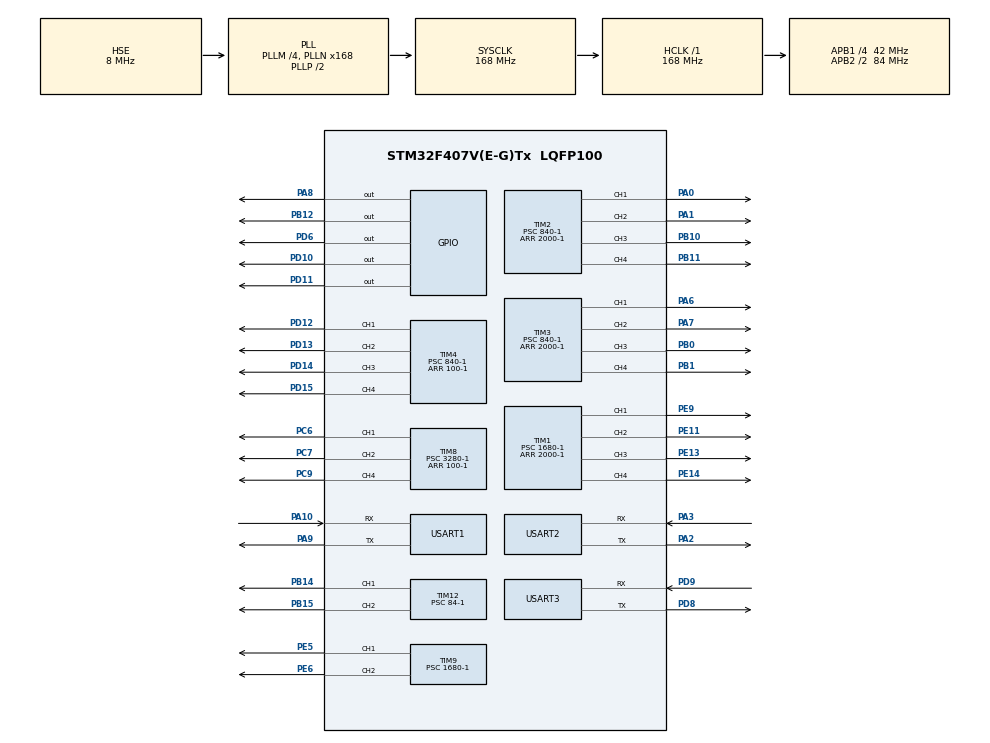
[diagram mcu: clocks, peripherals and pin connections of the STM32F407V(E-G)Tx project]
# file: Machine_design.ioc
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Dma.Request0=USART2_RX
Dma.Request1=USART2_TX
Dma.Request2=USART1_RX
Dma.Request3=USART1_TX
Dma.Request4=USART3_RX
Dma.Request5=USART3_TX
Dma.USART1_RX.2.Direction=DMA_PERIPH_TO_MEMORY
Dma.USART1_RX.2.FIFOMode=DMA_FIFOMODE_DISABLE
Dma.USART1_RX.2.Instance=DMA2_Stream2
Dma.USART1_RX.2.MemDataAlignment=DMA_MDATAALIGN_BYTE
Dma.USART1_RX.2.MemInc=DMA_MINC_ENABLE
Dma.USART1_RX.2.Mode=DMA_NORMAL
Dma.USART1_RX.2.PeriphDataAlignment=DMA_PDATAALIGN_BYTE
Dma.USART1_RX.2.PeriphInc=DMA_PINC_DISABLE
Dma.USART1_RX.2.Priority=DMA_PRIORITY_LOW
Dma.USART1_TX.3.Direction=DMA_MEMORY_TO_PERIPH
Dma.USART1_TX.3.FIFOMode=DMA_FIFOMODE_DISABLE
Dma.USART1_TX.3.Instance=DMA2_Stream7
Dma.USART1_TX.3.MemDataAlignment=DMA_MDATAALIGN_BYTE
Dma.USART1_TX.3.MemInc=DMA_MINC_ENABLE
Dma.USART1_TX.3.Mode=DMA_NORMAL
Dma.USART1_TX.3.PeriphDataAlignment=DMA_PDATAALIGN_BYTE
Dma.USART1_TX.3.PeriphInc=DMA_PINC_DISABLE
Dma.USART1_TX.3.Priority=DMA_PRIORITY_LOW
Dma.USART2_RX.0.Direction=DMA_PERIPH_TO_MEMORY
Dma.USART2_RX.0.FIFOMode=DMA_FIFOMODE_DISABLE
Dma.USART2_RX.0.Instance=DMA1_Stream5
Dma.USART2_RX.0.MemDataAlignment=DMA_MDATAALIGN_BYTE
Dma.USART2_RX.0.MemInc=DMA_MINC_ENABLE
Dma.USART2_RX.0.Mode=DMA_NORMAL
Dma.USART2_RX.0.PeriphDataAlignment=DMA_PDATAALIGN_BYTE
Dma.USART2_RX.0.PeriphInc=DMA_PINC_DISABLE
Dma.USART2_RX.0.Priority=DMA_PRIORITY_LOW
Dma.USART2_TX.1.Direction=DMA_MEMORY_TO_PERIPH
Dma.USART2_TX.1.FIFOMode=DMA_FIFOMODE_DISABLE
Dma.USART2_TX.1.Instance=DMA1_Stream6
Dma.USART2_TX.1.MemDataAlignment=DMA_MDATAALIGN_BYTE
Dma.USART2_TX.1.MemInc=DMA_MINC_ENABLE
Dma.USART2_TX.1.Mode=DMA_NORMAL
Dma.USART2_TX.1.PeriphDataAlignment=DMA_PDATAALIGN_BYTE
Dma.USART2_TX.1.PeriphInc=DMA_PINC_DISABLE
Dma.USART2_TX.1.Priority=DMA_PRIORITY_LOW
Dma.USART3_RX.4.Direction=DMA_PERIPH_TO_MEMORY
Dma.USART3_RX.4.FIFOMode=DMA_FIFOMODE_DISABLE
Dma.USART3_RX.4.Instance=DMA1_Stream1
Dma.USART3_RX.4.MemDataAlignment=DMA_MDATAALIGN_BYTE
Dma.USART3_RX.4.MemInc=DMA_MINC_ENABLE
Dma.USART3_RX.4.Mode=DMA_NORMAL
Dma.USART3_RX.4.PeriphDataAlignment=DMA_PDATAALIGN_BYTE
Dma.USART3_RX.4.PeriphInc=DMA_PINC_DISABLE
Dma.USART3_RX.4.Priority=DMA_PRIORITY_LOW
Dma.USART3_TX.5.Direction=DMA_MEMORY_TO_PERIPH
Dma.USART3_TX.5.FIFOMode=DMA_FIFOMODE_DISABLE
Dma.USART3_TX.5.Instance=DMA1_Stream3
Dma.USART3_TX.5.MemDataAlignment=DMA_MDATAALIGN_BYTE
Dma.USART3_TX.5.MemInc=DMA_MINC_ENABLE
Dma.USART3_TX.5.Mode=DMA_NORMAL
Dma.USART3_TX.5.PeriphDataAlignment=DMA_PDATAALIGN_BYTE
Dma.USART3_TX.5.PeriphInc=DMA_PINC_DISABLE
Dma.USART3_TX.5.Priority=DMA_PRIORITY_LOW
FREERTOS.Queues01=myQueue01,16,128,1,Dynamic,NULL,NULL
FREERTOS.Tasks01=MainTask,24,256,StartMainTask,Default,NULL,Dynamic,NULL,NULL;TaskState,24,256,StartStateUart,Default,NULL,Dynamic,NULL,NULL
Mcu.Family=STM32F4
Mcu.Name=STM32F407V(E-G)Tx
Mcu.Package=LQFP100
NVIC.DMA1_Stream1_IRQn=true\:5\:0\:false\:false\:true\:true\:false\:true\:true
NVIC.DMA1_Stream3_IRQn=true\:5\:0\:false\:false\:true\:true\:false\:true\:true
NVIC.DMA1_Stream5_IRQn=true\:5\:0\:false\:false\:true\:true\:false\:true\:true
NVIC.DMA1_Stream6_IRQn=true\:5\:0\:false\:false\:true\:true\:false\:true\:true
NVIC.DMA2_Stream2_IRQn=true\:5\:0\:false\:false\:true\:true\:false\:true\:true
NVIC.DMA2_Stream7_IRQn=true\:5\:0\:false\:false\:true\:true\:false\:true\:true
NVIC.PriorityGroup=NVIC_PRIORITYGROUP_4
NVIC.TIM1_BRK_TIM9_IRQn=true\:5\:0\:false\:false\:true\:true\:true\:true\:true
NVIC.TIM7_IRQn=true\:15\:0\:false\:false\:true\:false\:false\:true\:true
NVIC.TimeBase=TIM7_IRQn
NVIC.TimeBaseIP=TIM7
NVIC.USART1_IRQn=true\:5\:0\:false\:false\:true\:true\:true\:true\:true
NVIC.USART2_IRQn=true\:5\:0\:false\:false\:true\:true\:true\:true\:true
NVIC.USART3_IRQn=true\:5\:0\:false\:false\:true\:true\:true\:true\:true
PA0-WKUP.Signal=S_TIM2_CH1_ETR
PA1.Signal=S_TIM2_CH2
PA10.Mode=Asynchronous
PA10.Signal=USART1_RX
PA13.Mode=Serial_Wire
PA13.Signal=SYS_JTMS-SWDIO
PA14.Mode=Serial_Wire
PA14.Signal=SYS_JTCK-SWCLK
PA2.Mode=Asynchronous
PA2.Signal=USART2_TX
PA3.Mode=Asynchronous
PA3.Signal=USART2_RX
PA6.Signal=S_TIM3_CH1
PA7.Signal=S_TIM3_CH2
PA8.PinState=GPIO_PIN_SET
PA8.Signal=GPIO_Output
PA9.Mode=Asynchronous
PA9.Signal=USART1_TX
PB0.Signal=S_TIM3_CH3
PB1.Signal=S_TIM3_CH4
PB10.Signal=S_TIM2_CH3
PB11.Signal=S_TIM2_CH4
PB12.GPIO_ModeDefaultOutputPP=GPIO_MODE_OUTPUT_PP
PB12.PinState=GPIO_PIN_SET
PB12.Signal=GPIO_Output
PB14.Signal=S_TIM12_CH1
PB15.Signal=S_TIM12_CH2
PC6.Signal=S_TIM8_CH1
PC7.Signal=S_TIM8_CH2
PC9.Signal=S_TIM8_CH4
PD10.GPIO_ModeDefaultOutputPP=GPIO_MODE_OUTPUT_PP
PD10.PinState=GPIO_PIN_SET
PD10.Signal=GPIO_Output
PD11.PinState=GPIO_PIN_RESET
PD11.Signal=GPIO_Output
PD12.Signal=S_TIM4_CH1
PD13.Signal=S_TIM4_CH2
PD14.Signal=S_TIM4_CH3
PD15.Signal=S_TIM4_CH4
PD6.PinState=GPIO_PIN_RESET
PD6.Signal=GPIO_Output
PD8.Mode=Asynchronous
PD8.Signal=USART3_TX
PD9.Mode=Asynchronous
PD9.Signal=USART3_RX
PE11.Signal=S_TIM1_CH2
PE13.Signal=S_TIM1_CH3
PE14.Signal=S_TIM1_CH4
PE5.Signal=S_TIM9_CH1
PE6.Signal=S_TIM9_CH2
PE9.Signal=S_TIM1_CH1
PH0-OSC_IN.Mode=HSE-External-Oscillator
PH0-OSC_IN.Signal=RCC_OSC_IN
PH1-OSC_OUT.Mode=HSE-External-Oscillator
PH1-OSC_OUT.Signal=RCC_OSC_OUT
ProjectManager.HeapSize=0x200
ProjectManager.StackSize=0x400
ProjectManager.TargetToolchain=MDK-ARM V5.32
RCC.48MHZClocksFreq_Value=84000000
RCC.AHBFreq_Value=168000000
RCC.APB1CLKDivider=RCC_HCLK_DIV4
RCC.APB1Freq_Value=42000000
RCC.APB1TimFreq_Value=84000000
RCC.APB2CLKDivider=RCC_HCLK_DIV2
RCC.APB2Freq_Value=84000000
RCC.APB2TimFreq_Value=168000000
RCC.CortexFreq_Value=168000000
RCC.HCLKFreq_Value=168000000
RCC.HSE_VALUE=8000000
RCC.HSI_VALUE=16000000
RCC.LSE_VALUE=32768
RCC.PLLM=4
RCC.PLLN=168
RCC.PLLSourceVirtual=RCC_PLLSOURCE_HSE
RCC.SYSCLKFreq_VALUE=168000000
RCC.SYSCLKSource=RCC_SYSCLKSOURCE_PLLCLK
RCC.VCOOutputFreq_Value=336000000
SH.S_TIM12_CH1.0=TIM12_CH1,PWM Generation1 CH1
SH.S_TIM12_CH2.0=TIM12_CH2,PWM Generation2 CH2
SH.S_TIM1_CH1.0=TIM1_CH1,PWM Generation1 CH1
SH.S_TIM1_CH2.0=TIM1_CH2,PWM Generation2 CH2
SH.S_TIM1_CH3.0=TIM1_CH3,PWM Generation3 CH3
SH.S_TIM1_CH4.0=TIM1_CH4,PWM Generation4 CH4
SH.S_TIM2_CH1_ETR.0=TIM2_CH1,PWM Generation1 CH1
SH.S_TIM2_CH2.0=TIM2_CH2,PWM Generation2 CH2
SH.S_TIM2_CH3.0=TIM2_CH3,PWM Generation3 CH3
SH.S_TIM2_CH4.0=TIM2_CH4,PWM Generation4 CH4
SH.S_TIM3_CH1.0=TIM3_CH1,PWM Generation1 CH1
SH.S_TIM3_CH2.0=TIM3_CH2,PWM Generation2 CH2
SH.S_TIM3_CH3.0=TIM3_CH3,PWM Generation3 CH3
SH.S_TIM3_CH4.0=TIM3_CH4,PWM Generation4 CH4
SH.S_TIM4_CH1.0=TIM4_CH1,PWM Generation1 CH1
SH.S_TIM4_CH2.0=TIM4_CH2,PWM Generation2 CH2
SH.S_TIM4_CH3.0=TIM4_CH3,PWM Generation3 CH3
SH.S_TIM4_CH4.0=TIM4_CH4,PWM Generation4 CH4
SH.S_TIM8_CH1.0=TIM8_CH1,PWM Generation1 CH1
SH.S_TIM8_CH2.0=TIM8_CH2,PWM Generation2 CH2
SH.S_TIM8_CH4.0=TIM8_CH4,PWM Generation4 CH4
SH.S_TIM9_CH1.0=TIM9_CH1,PWM Generation1 CH1
SH.S_TIM9_CH2.0=TIM9_CH2,PWM Generation2 CH2
TIM1.AutoReloadPreload=TIM_AUTORELOAD_PRELOAD_ENABLE
TIM1.Channel-PWM\ Generation1\ CH1=TIM_CHANNEL_1
TIM1.Channel-PWM\ Generation2\ CH2=TIM_CHANNEL_2
TIM1.Channel-PWM\ Generation3\ CH3=TIM_CHANNEL_3
TIM1.Channel-PWM\ Generation4\ CH4=TIM_CHANNEL_4
TIM1.Period=2000-1
TIM1.Prescaler=1680-1
TIM12.AutoReloadPreload=TIM_AUTORELOAD_PRELOAD_ENABLE
TIM12.Channel-PWM\ Generation1\ CH1=TIM_CHANNEL_1
TIM12.Channel-PWM\ Generation2\ CH2=TIM_CHANNEL_2
TIM12.Period=100-1
TIM12.Prescaler=84-1
TIM2.AutoReloadPreload=TIM_AUTORELOAD_PRELOAD_ENABLE
TIM2.Channel-PWM\ Generation1\ CH1=TIM_CHANNEL_1
TIM2.Channel-PWM\ Generation2\ CH2=TIM_CHANNEL_2
TIM2.Channel-PWM\ Generation3\ CH3=TIM_CHANNEL_3
TIM2.Channel-PWM\ Generation4\ CH4=TIM_CHANNEL_4
TIM2.Period=2000-1
TIM2.Prescaler=840-1
TIM3.AutoReloadPreload=TIM_AUTORELOAD_PRELOAD_ENABLE
TIM3.Channel-PWM\ Generation1\ CH1=TIM_CHANNEL_1
TIM3.Channel-PWM\ Generation2\ CH2=TIM_CHANNEL_2
TIM3.Channel-PWM\ Generation3\ CH3=TIM_CHANNEL_3
TIM3.Channel-PWM\ Generation4\ CH4=TIM_CHANNEL_4
TIM3.Period=2000-1
TIM3.Prescaler=840-1
TIM4.AutoReloadPreload=TIM_AUTORELOAD_PRELOAD_ENABLE
TIM4.Channel-PWM\ Generation1\ CH1=TIM_CHANNEL_1
TIM4.Channel-PWM\ Generation2\ CH2=TIM_CHANNEL_2
TIM4.Channel-PWM\ Generation3\ CH3=TIM_CHANNEL_3
TIM4.Channel-PWM\ Generation4\ CH4=TIM_CHANNEL_4
TIM4.Period=100-1
TIM4.Prescaler=840-1
TIM8.AutoReloadPreload=TIM_AUTORELOAD_PRELOAD_ENABLE
TIM8.Channel-PWM\ Generation1\ CH1=TIM_CHANNEL_1
TIM8.Channel-PWM\ Generation2\ CH2=TIM_CHANNEL_2
TIM8.Channel-PWM\ Generation4\ CH4=TIM_CHANNEL_4
TIM8.Period=100-1
TIM8.Prescaler=3280-1
TIM9.AutoReloadPreload=TIM_AUTORELOAD_PRELOAD_ENABLE
TIM9.Channel-PWM\ Generation1\ CH1=TIM_CHANNEL_1
TIM9.Channel-PWM\ Generation2\ CH2=TIM_CHANNEL_2
TIM9.Period=2000-1
TIM9.Prescaler=1680-1
USART1.VirtualMode=VM_ASYNC
USART2.VirtualMode=VM_ASYNC
USART3.VirtualMode=VM_ASYNC
VP_FREERTOS_VS_CMSIS_V2.Mode=CMSIS_V2
VP_SYS_VS_tim7.Mode=TIM7
VP_TIM12_VS_ClockSourceINT.Mode=Internal
VP_TIM1_VS_ClockSourceINT.Mode=Internal
VP_TIM2_VS_ClockSourceINT.Mode=Internal
VP_TIM3_VS_ClockSourceINT.Mode=Internal
VP_TIM4_VS_ClockSourceINT.Mode=Internal
VP_TIM8_VS_ClockSourceINT.Mode=Internal
VP_TIM9_VS_ClockSourceINT.Mode=Internal
board=custom

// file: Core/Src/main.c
/* USER CODE BEGIN Header */
/**
  ******************************************************************************
  * @file           : main.c
  * @brief          : Main program body
  ******************************************************************************
  * @attention
  *
  * Copyright (c) 2024 STMicroelectronics.
  * All rights reserved.
  *
  * This software is licensed under terms that can be found in the LICENSE file
  * in the root directory of this software component.
  * If no LICENSE file comes with this software, it is provided AS-IS.
  *
  ******************************************************************************
  */
/* USER CODE END Header */
#include "main.h"
#include "cmsis_os.h"
#include "dma.h"
#include "tim.h"
#include "usart.h"
#include "gpio.h"

void SystemClock_Config(void);
void MX_FREERTOS_Init(void);

int main(void)
{

  /* MCU Configuration--------------------------------------------------------*/

  /* Reset of all peripherals, Initializes the Flash interface and the Systick. */
  HAL_Init();

  /* Configure the system clock */
  SystemClock_Config();

  /* Initialize all configured peripherals */
  MX_GPIO_Init();
  MX_DMA_Init();
  MX_USART2_UART_Init();
  MX_USART1_UART_Init();
  MX_TIM1_Init();
  MX_TIM2_Init();
  MX_TIM3_Init();
  MX_TIM4_Init();
  MX_TIM8_Init();
  MX_TIM9_Init();
  MX_TIM12_Init();
  MX_USART3_UART_Init();

  /* Init scheduler */
  osKernelInitialize();  /* Call init function for freertos objects (in freertos.c) */
  MX_FREERTOS_Init();

  /* Start scheduler */
  osKernelStart();
  /* We should never get here as control is now taken by the scheduler */
  /* Infinite loop */
  while (1)
  {

  }
}

void SystemClock_Config(void)
{
  RCC_OscInitTypeDef RCC_OscInitStruct = {0};
  RCC_ClkInitTypeDef RCC_ClkInitStruct = {0};

  /** Configure the main internal regulator output voltage
  */
  __HAL_RCC_PWR_CLK_ENABLE();
  __HAL_PWR_VOLTAGESCALING_CONFIG(PWR_REGULATOR_VOLTAGE_SCALE1);

  /** Initializes the RCC Oscillators according to the specified parameters
  * in the RCC_OscInitTypeDef structure.
  */
  RCC_OscInitStruct.OscillatorType = RCC_OSCILLATORTYPE_HSE;
  RCC_OscInitStruct.HSEState = RCC_HSE_ON;
  RCC_OscInitStruct.PLL.PLLState = RCC_PLL_ON;
  RCC_OscInitStruct.PLL.PLLSource = RCC_PLLSOURCE_HSE;
  RCC_OscInitStruct.PLL.PLLM = 4;
  RCC_OscInitStruct.PLL.PLLN = 168;
  RCC_OscInitStruct.PLL.PLLP = RCC_PLLP_DIV2;
  RCC_OscInitStruct.PLL.PLLQ = 4;
  if (HAL_RCC_OscConfig(&RCC_OscInitStruct) != HAL_OK)
  {
    Error_Handler();
  }

  /** Initializes the CPU, AHB and APB buses clocks
  */
  RCC_ClkInitStruct.ClockType = RCC_CLOCKTYPE_HCLK|RCC_CLOCKTYPE_SYSCLK
                              |RCC_CLOCKTYPE_PCLK1|RCC_CLOCKTYPE_PCLK2;
  RCC_ClkInitStruct.SYSCLKSource = RCC_SYSCLKSOURCE_PLLCLK;
  RCC_ClkInitStruct.AHBCLKDivider = RCC_SYSCLK_DIV1;
  RCC_ClkInitStruct.APB1CLKDivider = RCC_HCLK_DIV4;
  RCC_ClkInitStruct.APB2CLKDivider = RCC_HCLK_DIV2;

  if (HAL_RCC_ClockConfig(&RCC_ClkInitStruct, FLASH_LATENCY_5) != HAL_OK)
  {
    Error_Handler();
  }
}

void HAL_TIM_PeriodElapsedCallback(TIM_HandleTypeDef *htim)
{
  if (htim->Instance == TIM7) {
    HAL_IncTick();
  }
}

void Error_Handler(void)
{
  __disable_irq();
  while (1)
  {
  }
}

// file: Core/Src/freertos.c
/* USER CODE BEGIN Header */
/**
  ******************************************************************************
  * File Name          : freertos.c
  * Description        : Code for freertos applications
  ******************************************************************************
  * @attention
  *
  * Copyright (c) 2023 STMicroelectronics.
  * All rights reserved.
  *
  * This software is licensed under terms that can be found in the LICENSE file
  * in the root directory of this software component.
  * If no LICENSE file comes with this software, it is provided AS-IS.
  *
  ******************************************************************************
  */
/* USER CODE END Header */

#include "FreeRTOS.h"
#include "task.h"
#include "main.h"
#include "cmsis_os.h"

/* USER CODE BEGIN Includes */
#include <stdio.h>
#include "usart.h"
#include "gpio.h"
#include "string.h"
#include "Control.h"
#include "tim.h"
/* USER CODE END Includes */

/* USER CODE BEGIN Variables */
uint8_t rx_buf[128];			//接收缓冲数组
uint8_t start = 0;
/* USER CODE END Variables */
/* Definitions for MainTask */
osThreadId_t MainTaskHandle;
const osThreadAttr_t MainTask_attributes = {
  .name = "MainTask",
  .stack_size = 256 * 4,
  .priority = (osPriority_t) osPriorityNormal,
};
/* Definitions for TaskState */
osThreadId_t TaskStateHandle;
const osThreadAttr_t TaskState_attributes = {
  .name = "TaskState",
  .stack_size = 256 * 4,
  .priority = (osPriority_t) osPriorityNormal,
};
/* Definitions for myQueue01 */
osMessageQueueId_t myQueue01Handle;
const osMessageQueueAttr_t myQueue01_attributes = {
  .name = "myQueue01"
};

void StartMainTask(void *argument);
void StartStateUart(void *argument);

void MX_FREERTOS_Init(void); /* (MISRA C 2004 rule 8.1) */

void MX_FREERTOS_Init(void) {

  /* Create the queue(s) */
  /* creation of myQueue01 */
  myQueue01Handle = osMessageQueueNew (16, 128, &myQueue01_attributes);

  /* Create the thread(s) */
  /* creation of MainTask */
  MainTaskHandle = osThreadNew(StartMainTask, NULL, &MainTask_attributes);

  /* creation of TaskState */
  TaskStateHandle = osThreadNew(StartStateUart, NULL, &TaskState_attributes);

}

void StartMainTask(void *argument)
{
  /* USER CODE BEGIN StartMainTask */
  HAL_UARTEx_ReceiveToIdle_DMA(&huart2,rx_buf,127);			//�?启DMA空闲接收中断
  SE_init();//初始�?
  osDelay(1000);
  while(1){
     osDelay(1);
     if(start == 1)break;//等待串口发�?�启动指�?
  }
  // int parameter = 0;
  LP_start();//启动落盘
  CSD_Move(1);//启动传送带
  osDelay(1600);
  CSD_Move(0);//停止传送带
  osDelay(1000);
  __HAL_TIM_SET_PRESCALER(&htim4,1260-1);//传送带降速
  __HAL_TIM_SET_COMPARE(&htim12,TIM_CHANNEL_2,70);//落土滚筒启动
  osDelay(2250);
  __HAL_TIM_SET_COMPARE(&htim12,TIM_CHANNEL_2,0);//落土滚筒关闭
  CSD_Move(1);//启动传送带
  osDelay(1000);
  __HAL_TIM_SET_COMPARE(&htim3, TIM_CHANNEL_1, 110);//刮土装置打开
  osDelay(600);
  __HAL_TIM_SET_COMPARE(&htim3, TIM_CHANNEL_1, 190);//刮土装置关闭
  osDelay(4500);
  CSD_Move(0);//停止传送带
  __HAL_TIM_SET_COMPARE(&htim3, TIM_CHANNEL_1, 120);//刮土装置打开
  osDelay(500);
  CSD_Move(1);//启动传送带
  osDelay(1200);
  CSD_Move(0);//停止传送带
  ZZ_start();//落种子程序启动
  CSD_Move(1);//启动传送带
  osDelay(4000);
  CSD_Move(0);//停止传送带
  /* Infinite lo26 */
  for(;;)
  {
    //__HAL_TIM_SET_COMPARE(&htim4,TIM_CHANNEL_2,0);//TIM4通道2PWM初始化（右传送带�?
	  //__HAL_TIM_SET_COMPARE(&htim4,TIM_CHANNEL_4,0);//TIM4通道4PWM初始化（左传送带�?
    //__HAL_TIM_SET_COMPARE(&htim3,TIM_CHANNEL_1,1000);
    // ZZ_PWM(2);

    // __HAL_TIM_SET_COMPARE(&htim12,TIM_CHANNEL_2,70);
    // osDelay(2050);

    // osDelay(2500);
    // ZZ_PWM(0);
    // osDelay(5000);
    //ZZ_PWM(1);
   // __HAL_TIM_SET_COMPARE(&htim9,TIM_CHANNEL_1,50);

    //  osDelay(1000);
    // FU_DJPWM(1);
    // BU_DJPWM(1);
    // osDelay(5000);
    // ZZ_PWM(0);
    osDelay(1);
    // FU_DJPWM(0);
    // BU_DJPWM(0);
  }
  /* USER CODE END StartMainTask */
}

void StartStateUart(void *argument)
{
  /* USER CODE BEGIN StartStateUart */
  char dat[128];			//定义消息队列读取缓冲
  /* Infinite loop */
  for(;;)
  {
    if(osMessageQueueGet(myQueue01Handle,dat,NULL,10) == osOK){//接收到串口数�?
      if(strstr(dat,"start") == dat){
        start = 1;
        printf("start\r\n");
      }
		}
    osDelay(1);
  }
  /* USER CODE END StartStateUart */
}

/* USER CODE BEGIN Application */
void HAL_UARTEx_RxEventCallback(UART_HandleTypeDef*huart,uint16_t Size){
	if(huart == &huart2){
		HAL_UART_DMAStop(huart);
		rx_buf[Size] = '\0';
		osMessageQueuePut(myQueue01Handle,rx_buf,NULL,0);
		__HAL_UNLOCK(huart);
		HAL_UARTEx_ReceiveToIdle_DMA(huart,rx_buf,127);
	}
}
/* USER CODE END Application */
